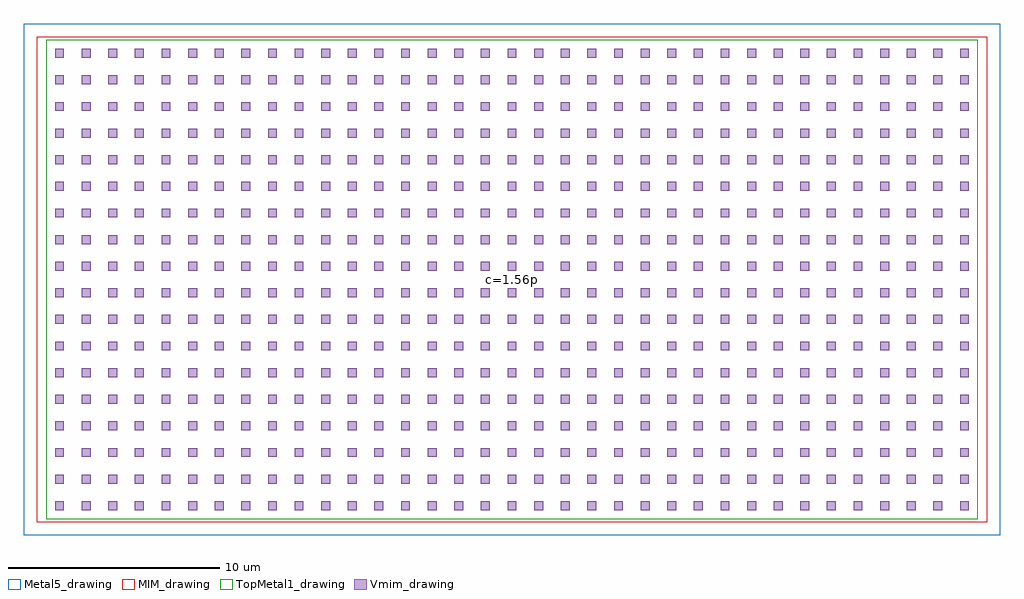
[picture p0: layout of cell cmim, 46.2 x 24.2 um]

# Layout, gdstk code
import gdstk
lib = gdstk.Library(unit=1e-6, precision=1e-09)
def R(c, l, rs):  # rectangles x0, y0, x1, y1
    for r in rs: c.add(gdstk.rectangle(r[:2], r[2:], *l))
def A(c, l, x, y, w, h, nx, ny, dx, dy):  # array of equal rectangles
    R(c, l, [(x+i*dx, y+j*dy, x+i*dx+w, y+j*dy+h) for i in range(nx) for j in range(ny)])
MIM_drawing = (36, 0)
Metal5_drawing = (67, 0)
TopMetal1_drawing = (126, 0)
Vmim_drawing = (129, 0)

cmim = lib.new_cell('cmim')
R(cmim, MIM_drawing, [(0,0,45,23)])
R(cmim, Metal5_drawing, [(-0.6,-0.6,45.6,23.6)])
R(cmim, TopMetal1_drawing, [(0.45,0.16,44.55,22.84)])
A(cmim, Vmim_drawing, 0.87, 0.58, 0.42, 0.42, 35, 18, 1.26, 1.26)
cmim.add(gdstk.Label('c=1.56p', (22.5,11.5), layer=63, texttype=0))
cmim.add(gdstk.Label('cmim', (22.5,11.5), layer=63, texttype=0))

lib.write_gds('cmim.gds')
